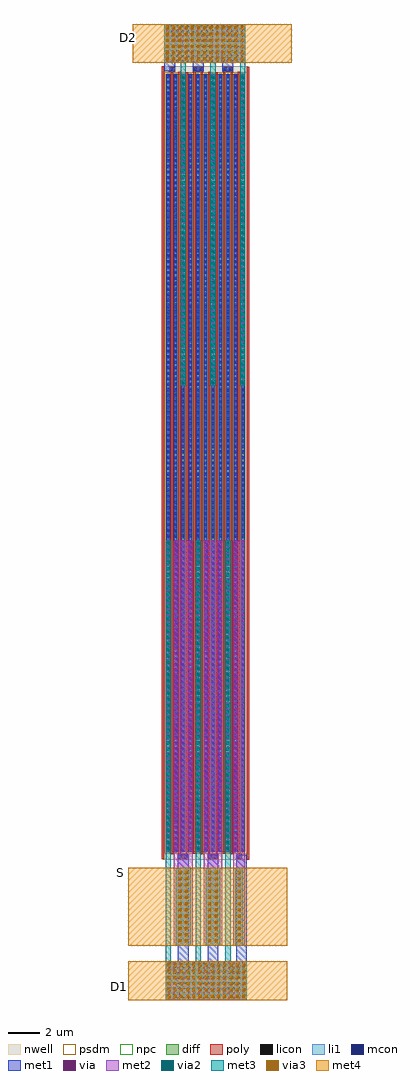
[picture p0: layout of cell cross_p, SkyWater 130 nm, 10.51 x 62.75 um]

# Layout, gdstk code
import gdstk
lib = gdstk.Library(unit=1e-6, precision=1e-09)
def R(c, l, rs):  # rectangles x0, y0, x1, y1
    for r in rs: c.add(gdstk.rectangle(r[:2], r[2:], *l))
def A(c, l, x, y, w, h, nx, ny, dx, dy):  # array of equal rectangles
    R(c, l, [(x+i*dx, y+j*dy, x+i*dx+w, y+j*dy+h) for i in range(nx) for j in range(ny)])
def P(c, l, *ps):  # polygons
    for p in ps: c.add(gdstk.Polygon(p, *l))
nwell = (64, 20)
diff = (65, 20)
poly = (66, 20)
licon = (66, 44)
li1 = (67, 20)
mcon = (67, 44)
met1 = (68, 20)
via = (68, 44)
met2 = (69, 20)
via2 = (69, 44)
met3 = (70, 20)
via3 = (70, 44)
met4 = (71, 20)
psdm = (94, 20)
npc = (95, 20)

cross_p = lib.new_cell('cross_p')
R(cross_p, nwell, [(0,0,5.45,51)])
R(cross_p, diff, [(0.18,0.5,5.27,50.5)])
R(cross_p, poly, [(5.39,-0.002,5.54,50.968), (0.95,0.015,1.62,0.345), (2.87,0.015,3.54,0.345), (4.72,0.015,5.05,0.345), (-0.09,0.034,0.06,51.004), (4.81,0.311,4.96,50.655), (2.89,0.317,3.04,50.655), (0.97,0.326,1.12,50.655), (0.49,0.345,0.64,50.693), (1.45,0.345,1.6,50.63), (2.41,0.345,2.56,50.756), (3.37,0.345,3.52,50.63), (4.33,0.345,4.48,50.763), (1.93,0.37,2.08,50.655), (3.85,0.37,4,50.655), (0.4,50.655,0.73,50.985), (1.91,50.655,2.58,50.985), (3.83,50.655,4.5,50.985)])
A(cross_p, licon, 0.24, 0.595, 0.17, 0.17, 11, 147, 0.48, 0.34)
R(cross_p, licon, [(1.03,0.095,1.2,0.265), (1.37,0.095,1.54,0.265), (2.95,0.095,3.12,0.265), (3.29,0.095,3.46,0.265), (4.8,0.095,4.97,0.265), (0.48,50.735,0.65,50.905), (1.99,50.735,2.16,50.905), (2.33,50.735,2.5,50.905), (3.91,50.735,4.08,50.905), (4.25,50.735,4.42,50.905)])
A(cross_p, li1, 0.24, 0.48, 0.17, 50.04, 11, 1, 0.48, 0)
R(cross_p, li1, [(0.95,0.095,1.62,0.265), (2.87,0.095,3.54,0.265), (4.72,0.095,5.05,0.265), (0.4,50.735,0.73,50.905), (1.91,50.735,2.58,50.905), (3.83,50.735,4.5,50.905)])
A(cross_p, mcon, 0.24, 0.575, 0.17, 0.17, 11, 139, 0.48, 0.36)
R(cross_p, mcon, [(1.02,0.095,1.19,0.265), (1.38,0.095,1.55,0.265), (2.94,0.095,3.11,0.265), (3.3,0.095,3.47,0.265), (4.8,0.095,4.97,0.265), (0.48,50.735,0.65,50.905), (1.98,50.735,2.15,50.905), (2.34,50.735,2.51,50.905), (3.9,50.735,4.07,50.905), (4.26,50.735,4.43,50.905)])
A(cross_p, met1, 0.21, 0.5, 0.23, 50, 11, 1, 0.48, 0)
R(cross_p, met1, [(4.685,-7.301,5.385,0.32), (2.855,-7.233,3.555,0.32), (0.935,-7.211,1.635,0.32), (0.935,0.065,1.635,0.317), (2.855,0.065,3.555,0.317), (0.065,50.68,0.765,53.026), (0.065,50.68,0.765,53.026), (1.895,50.68,2.595,53.026), (3.815,50.68,4.515,53.026), (3.815,50.705,4.515,50.957)])
A(cross_p, via, 0.297, -8.971, 0.15, 0.15, 16, 8, 0.32, 0.32)
A(cross_p, via, 0.25, 0.665, 0.15, 0.15, 1, 62, 0, 0.32)
A(cross_p, via, 0.73, 0.665, 0.15, 0.15, 1, 62, 0, 0.32)
A(cross_p, via, 1.69, 0.665, 0.15, 0.15, 3, 62, 0.48, 0.32)
A(cross_p, via, 3.61, 0.665, 0.15, 0.15, 3, 62, 0.48, 0.32)
A(cross_p, via, 1.21, 30.665, 0.15, 0.15, 3, 62, 1.92, 0.32)
A(cross_p, via, 0.202, 51.279, 0.15, 0.15, 16, 8, 0.32, 0.32)
R(cross_p, met2, [(4.515,-5.526,5.245,20.5)])
P(cross_p, met2, [(0.675,-5.526),(0.675,0.5),(0.935,0.5),(0.935,20.5),(1.635,20.5),(1.635,0.5),(1.895,0.5),(1.895,-5.526)],
  [(2.595,-5.526),(2.595,0.5),(2.855,0.5),(2.855,20.5),(3.555,20.5),(3.555,0.5),(3.815,0.5),(3.815,-5.526)])
A(cross_p, via2, 0.272, -8.876, 0.2, 0.2, 13, 6, 0.4, 0.4)
A(cross_p, via2, 2.905, -5.326, 0.2, 0.2, 1, 12, 0, 0.4)
A(cross_p, via2, 3.305, -5.326, 0.2, 0.2, 1, 12, 0, 0.4)
A(cross_p, via2, 4.78, -5.326, 0.2, 0.2, 1, 12, 0, 0.4)
A(cross_p, via2, 0.225, 0.6, 0.2, 0.2, 3, 50, 1.92, 0.4)
A(cross_p, via2, 1.185, 30.6, 0.2, 0.2, 3, 50, 1.92, 0.4)
A(cross_p, via2, 0.177, 51.374, 0.2, 0.2, 13, 6, 0.4, 0.4)
R(cross_p, via2, [(0.985,-5.326,1.185,-5.126), (0.985,-5.326,1.185,-5.126), (1.385,-5.326,1.585,-5.126), (1.385,-5.326,1.585,-5.126), (0.985,-4.926,1.185,-4.726), (0.985,-4.926,1.185,-4.726), (1.385,-4.926,1.585,-4.726), (1.385,-4.926,1.585,-4.726), (0.985,-4.526,1.185,-4.326), (0.985,-4.526,1.185,-4.326), (1.385,-4.526,1.585,-4.326), (1.385,-4.526,1.585,-4.326), (0.985,-4.126,1.185,-3.926), (0.985,-4.126,1.185,-3.926), (1.385,-4.126,1.585,-3.926), (1.385,-4.126,1.585,-3.926), (0.985,-3.726,1.185,-3.526), (0.985,-3.726,1.185,-3.526), (1.385,-3.726,1.585,-3.526), (1.385,-3.726,1.585,-3.526), (0.985,-3.326,1.185,-3.126), (0.985,-3.326,1.185,-3.126), (1.385,-3.326,1.585,-3.126), (1.385,-3.326,1.585,-3.126), (0.985,-2.926,1.185,-2.726), (0.985,-2.926,1.185,-2.726), (1.385,-2.926,1.585,-2.726), (1.385,-2.926,1.585,-2.726), (0.985,-2.526,1.185,-2.326), (0.985,-2.526,1.185,-2.326), (1.385,-2.526,1.585,-2.326), (1.385,-2.526,1.585,-2.326), (0.985,-2.126,1.185,-1.926), (0.985,-2.126,1.185,-1.926), (1.385,-2.126,1.585,-1.926), (1.385,-2.126,1.585,-1.926), (0.985,-1.726,1.185,-1.526), (0.985,-1.726,1.185,-1.526), (1.385,-1.726,1.585,-1.526), (1.385,-1.726,1.585,-1.526), (0.985,-1.326,1.185,-1.126), (0.985,-1.326,1.185,-1.126), (1.385,-1.326,1.585,-1.126), (1.385,-1.326,1.585,-1.126), (0.985,-0.926,1.185,-0.726), (0.985,-0.926,1.185,-0.726), (1.385,-0.926,1.585,-0.726), (1.385,-0.926,1.585,-0.726)])
P(cross_p, met3, [(0.16,-6.871),(0.16,-1.526),(0.16,-1.526),(0.16,0.5),(0.49,0.5),(0.49,-1.526),(0.49,-1.526),(0.49,-6.871)],
  [(2.08,-7.052),(2.08,-1.526),(2.08,-1.526),(2.08,0.5),(2.41,0.5),(2.41,-1.526),(2.41,-1.526),(2.41,-7.052)],
  [(4,-6.984),(4,-1.526),(4,-1.526),(4,0.5),(4.33,0.5),(4.33,-1.526),(4.33,-1.526),(4.33,-6.984)],
  [(1.12,50.5),(1.12,52.526),(1.085,52.526),(1.085,53.026),(1.485,53.026),(1.485,52.526),(1.45,52.526),(1.45,50.5)],
  [(3.04,50.5),(3.04,52.526),(3.005,52.526),(3.005,53.026),(3.405,53.026),(3.405,52.526),(3.37,52.526),(3.37,50.5)],
  [(4.96,50.5),(4.96,52.526),(4.925,52.526),(4.925,53.026),(5.29,53.026),(5.29,52.526),(5.29,52.526),(5.29,50.5)])
A(cross_p, via3, 0.272, -8.876, 0.2, 0.2, 13, 6, 0.4, 0.4)
A(cross_p, via3, 2.905, -5.326, 0.2, 0.2, 1, 12, 0, 0.4)
A(cross_p, via3, 3.305, -5.326, 0.2, 0.2, 1, 12, 0, 0.4)
A(cross_p, via3, 4.78, -5.326, 0.2, 0.2, 1, 12, 0, 0.4)
A(cross_p, via3, 0.177, 51.374, 0.2, 0.2, 13, 6, 0.4, 0.4)
R(cross_p, via3, [(0.985,-5.326,1.185,-5.126), (0.985,-5.326,1.185,-5.126), (1.385,-5.326,1.585,-5.126), (1.385,-5.326,1.585,-5.126), (0.985,-4.926,1.185,-4.726), (0.985,-4.926,1.185,-4.726), (1.385,-4.926,1.585,-4.726), (1.385,-4.926,1.585,-4.726), (0.985,-4.526,1.185,-4.326), (0.985,-4.526,1.185,-4.326), (1.385,-4.526,1.585,-4.326), (1.385,-4.526,1.585,-4.326), (0.985,-4.126,1.185,-3.926), (0.985,-4.126,1.185,-3.926), (1.385,-4.126,1.585,-3.926), (1.385,-4.126,1.585,-3.926), (0.985,-3.726,1.185,-3.526), (0.985,-3.726,1.185,-3.526), (1.385,-3.726,1.585,-3.526), (1.385,-3.726,1.585,-3.526), (0.985,-3.326,1.185,-3.126), (0.985,-3.326,1.185,-3.126), (1.385,-3.326,1.585,-3.126), (1.385,-3.326,1.585,-3.126), (0.985,-2.926,1.185,-2.726), (0.985,-2.926,1.185,-2.726), (1.385,-2.926,1.585,-2.726), (1.385,-2.926,1.585,-2.726), (0.985,-2.526,1.185,-2.326), (0.985,-2.526,1.185,-2.326), (1.385,-2.526,1.585,-2.326), (1.385,-2.526,1.585,-2.326), (0.985,-2.126,1.185,-1.926), (0.985,-2.126,1.185,-1.926), (1.385,-2.126,1.585,-1.926), (1.385,-2.126,1.585,-1.926), (0.985,-1.726,1.185,-1.526), (0.985,-1.726,1.185,-1.526), (1.385,-1.726,1.585,-1.526), (1.385,-1.726,1.585,-1.526), (0.985,-1.326,1.185,-1.126), (0.985,-1.326,1.185,-1.126), (1.385,-1.326,1.585,-1.126), (1.385,-1.326,1.585,-1.126), (0.985,-0.926,1.185,-0.726), (0.985,-0.926,1.185,-0.726), (1.385,-0.926,1.585,-0.726), (1.385,-0.926,1.585,-0.726)])
R(cross_p, psdm, [(0.055,0.375,5.395,50.625)])
R(cross_p, npc, [(0.95,-0.005,1.62,0.365), (2.87,-0.005,3.54,0.365), (4.7,-0.005,5.07,0.365), (0.38,50.635,0.75,51.005), (1.91,50.635,2.58,51.005), (3.83,50.635,4.5,51.005)])
cross_p.add(gdstk.FlexPath([(0.065,52.474),(5.29,52.474)], 2.5, ends="flush", simple_path=True, layer=68, datatype=20))  # met1
cross_p.add(gdstk.FlexPath([(0.16,-7.776),(5.385,-7.776)], 2.5, ends="flush", simple_path=True, layer=68, datatype=20))  # met1
cross_p.add(gdstk.FlexPath([(0.325,20.5),(0.325,0.5)], 0.33, ends="flush", simple_path=True, layer=68, datatype=20))  # met1
cross_p.add(gdstk.FlexPath([(2.245,20.5),(2.245,0.5)], 0.33, ends="flush", simple_path=True, layer=68, datatype=20))  # met1
cross_p.add(gdstk.FlexPath([(4.165,20.5),(4.165,0.5)], 0.33, ends="flush", simple_path=True, layer=68, datatype=20))  # met1
cross_p.add(gdstk.FlexPath([(1.285,50.5),(1.285,30.5)], 0.33, ends="flush", simple_path=True, layer=68, datatype=20))  # met1
cross_p.add(gdstk.FlexPath([(3.205,50.5),(3.205,30.5)], 0.33, ends="flush", simple_path=True, layer=68, datatype=20))  # met1
cross_p.add(gdstk.FlexPath([(5.125,50.5),(5.125,30.5)], 0.33, ends="flush", simple_path=True, layer=68, datatype=20))  # met1
cross_p.add(gdstk.FlexPath([(0.805,20.5),(0.805,0.5)], 0.26, ends="flush", simple_path=True, layer=68, datatype=20))  # met1
cross_p.add(gdstk.FlexPath([(1.765,20.5),(1.765,0.5)], 0.26, ends="flush", simple_path=True, layer=68, datatype=20))  # met1
cross_p.add(gdstk.FlexPath([(2.725,20.5),(2.725,0.5)], 0.26, ends="flush", simple_path=True, layer=68, datatype=20))  # met1
cross_p.add(gdstk.FlexPath([(3.685,20.5),(3.685,0.5)], 0.26, ends="flush", simple_path=True, layer=68, datatype=20))  # met1
cross_p.add(gdstk.FlexPath([(4.645,20.5),(4.645,0.5)], 0.26, ends="flush", simple_path=True, layer=68, datatype=20))  # met1
cross_p.add(gdstk.FlexPath([(0.065,52.474),(5.29,52.474)], 2.5, ends="flush", simple_path=True, layer=70, datatype=20))  # met3
cross_p.add(gdstk.FlexPath([(4.88,-0.526),(4.88,-5.526)], 0.5, ends="flush", simple_path=True, layer=70, datatype=20))  # met3
cross_p.add(gdstk.FlexPath([(0.325,20.5),(0.325,0.5)], 0.33, ends="flush", simple_path=True, layer=70, datatype=20))  # met3
cross_p.add(gdstk.FlexPath([(3.205,-0.526),(3.205,-5.526)], 0.95, ends="flush", simple_path=True, layer=70, datatype=20))  # met3
cross_p.add(gdstk.FlexPath([(1.285,-0.526),(1.285,-5.526)], 0.95, ends="flush", simple_path=True, layer=70, datatype=20))  # met3
cross_p.add(gdstk.FlexPath([(1.285,-0.526),(1.285,-5.526)], 0.95, ends="flush", simple_path=True, layer=70, datatype=20))  # met3
cross_p.add(gdstk.FlexPath([(0.16,-7.776),(5.385,-7.776)], 2.5, ends="flush", simple_path=True, layer=70, datatype=20))  # met3
cross_p.add(gdstk.FlexPath([(2.245,20.5),(2.245,0.5)], 0.33, ends="flush", simple_path=True, layer=70, datatype=20))  # met3
cross_p.add(gdstk.FlexPath([(4.165,20.5),(4.165,0.5)], 0.33, ends="flush", simple_path=True, layer=70, datatype=20))  # met3
cross_p.add(gdstk.FlexPath([(1.285,50.5),(1.285,30.5)], 0.33, ends="flush", simple_path=True, layer=70, datatype=20))  # met3
cross_p.add(gdstk.FlexPath([(3.205,50.5),(3.205,30.5)], 0.33, ends="flush", simple_path=True, layer=70, datatype=20))  # met3
cross_p.add(gdstk.FlexPath([(5.125,50.5),(5.125,30.5)], 0.33, ends="flush", simple_path=True, layer=70, datatype=20))  # met3
cross_p.add(gdstk.FlexPath([(0.065,52.474),(5.29,52.474)], 2.5, ends="flush", simple_path=True, layer=71, datatype=20))  # met4
cross_p.add(gdstk.FlexPath([(4.88,-0.526),(4.88,-5.526)], 0.5, ends="flush", simple_path=True, layer=71, datatype=20))  # met4
cross_p.add(gdstk.FlexPath([(3.205,-0.526),(3.205,-5.526)], 0.95, ends="flush", simple_path=True, layer=71, datatype=20))  # met4
cross_p.add(gdstk.FlexPath([(1.285,-0.526),(1.285,-5.526)], 0.95, ends="flush", simple_path=True, layer=71, datatype=20))  # met4
cross_p.add(gdstk.FlexPath([(1.285,-0.526),(1.285,-5.526)], 0.95, ends="flush", simple_path=True, layer=71, datatype=20))  # met4
cross_p.add(gdstk.FlexPath([(0.16,-7.776),(5.385,-7.776)], 2.5, ends="flush", simple_path=True, layer=71, datatype=20))  # met4
cross_p.add(gdstk.FlexPath([(-1.946,52.474),(8.266,52.474)], 2.5, ends="flush", simple_path=True, layer=71, datatype=20))  # met4
cross_p.add(gdstk.FlexPath([(-2.243,-7.776),(7.969,-7.776)], 2.5, ends="flush", simple_path=True, layer=71, datatype=20))  # met4
cross_p.add(gdstk.FlexPath([(-2.243,-3.026),(7.969,-3.026)], 5, ends="flush", simple_path=True, layer=71, datatype=20))  # met4
cross_p.add(gdstk.FlexPath([(0.065,52.474),(5.29,52.474)], 2.5, ends="flush", simple_path=True, layer=69, datatype=20))  # met2
cross_p.add(gdstk.FlexPath([(4.88,-0.526),(4.88,-5.526)], 0.5, ends="flush", simple_path=True, layer=69, datatype=20))  # met2
cross_p.add(gdstk.FlexPath([(3.205,-0.526),(3.205,-5.526)], 0.95, ends="flush", simple_path=True, layer=69, datatype=20))  # met2
cross_p.add(gdstk.FlexPath([(1.285,-0.526),(1.285,-5.526)], 0.95, ends="flush", simple_path=True, layer=69, datatype=20))  # met2
cross_p.add(gdstk.FlexPath([(0.325,20.5),(0.325,0.5)], 0.33, ends="flush", simple_path=True, layer=69, datatype=20))  # met2
cross_p.add(gdstk.FlexPath([(2.245,20.5),(2.245,0.5)], 0.33, ends="flush", simple_path=True, layer=69, datatype=20))  # met2
cross_p.add(gdstk.FlexPath([(4.165,20.5),(4.165,0.5)], 0.33, ends="flush", simple_path=True, layer=69, datatype=20))  # met2
cross_p.add(gdstk.FlexPath([(1.285,50.5),(1.285,30.5)], 0.33, ends="flush", simple_path=True, layer=69, datatype=20))  # met2
cross_p.add(gdstk.FlexPath([(3.205,50.5),(3.205,30.5)], 0.33, ends="flush", simple_path=True, layer=69, datatype=20))  # met2
cross_p.add(gdstk.FlexPath([(5.125,50.5),(5.125,30.5)], 0.33, ends="flush", simple_path=True, layer=69, datatype=20))  # met2
cross_p.add(gdstk.FlexPath([(0.805,20.5),(0.805,0.5)], 0.26, ends="flush", simple_path=True, layer=69, datatype=20))  # met2
cross_p.add(gdstk.FlexPath([(1.765,20.5),(1.765,0.5)], 0.26, ends="flush", simple_path=True, layer=69, datatype=20))  # met2
cross_p.add(gdstk.FlexPath([(2.725,20.5),(2.725,0.5)], 0.26, ends="flush", simple_path=True, layer=69, datatype=20))  # met2
cross_p.add(gdstk.FlexPath([(3.685,20.5),(3.685,0.5)], 0.26, ends="flush", simple_path=True, layer=69, datatype=20))  # met2
cross_p.add(gdstk.FlexPath([(4.645,20.5),(4.645,0.5)], 0.26, ends="flush", simple_path=True, layer=69, datatype=20))  # met2
cross_p.add(gdstk.FlexPath([(1.285,-0.526),(1.285,-5.526)], 0.95, ends="flush", simple_path=True, layer=69, datatype=20))  # met2
cross_p.add(gdstk.FlexPath([(0.16,-7.776),(5.385,-7.776)], 2.5, ends="flush", simple_path=True, layer=69, datatype=20))  # met2
cross_p.add(gdstk.Label('S', (-2.724,-0.86), layer=69, texttype=44))
cross_p.add(gdstk.Label('D1', (-2.803,-8.157), layer=69, texttype=44))
cross_p.add(gdstk.Label('D2', (-2.214,52.825), layer=69, texttype=44))

lib.write_gds('cross_p.gds')
